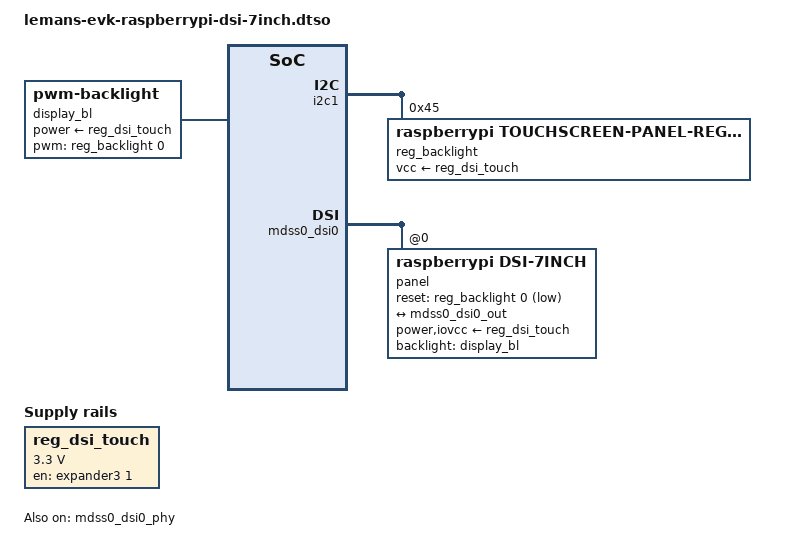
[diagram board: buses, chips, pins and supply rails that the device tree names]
// SPDX-License-Identifier: BSD-3-Clause
/*
 * Copyright (c) Qualcomm Technologies, Inc. and/or its subsidiaries.
 */
/dts-v1/;
/plugin/;

#include <dt-bindings/gpio/gpio.h>

&{/} {
	display_bl: backlight {
		compatible = "pwm-backlight";
		power-supply = <&reg_dsi_touch>;
		pwms = <&reg_backlight 0 255 0>;
	};

	reg_dsi_touch: regulator-touch {
		compatible = "regulator-fixed";
		regulator-name = "rpi-dsi-touch";
		regulator-min-microvolt = <3300000>;
		regulator-max-microvolt = <3300000>;
		gpio = <&expander3 1 GPIO_ACTIVE_HIGH>;
		enable-active-high;
		regulator-boot-on;
		regulator-always-on;
	};
};

&i2c1 {
	qcom,load-firmware;
	qcom,xfer-mode = <1>;

	status = "okay";

	#address-cells = <1>;
	#size-cells = <0>;

	reg_backlight: reg_backlight@45 {
		compatible = "raspberrypi,touchscreen-panel-regulator-v2";
		reg = <0x45>;

		vcc-supply = <&reg_dsi_touch>;
		gpio-controller;
		#gpio-cells = <2>;
		#pwm-cells = <3>;
	};
};

&mdss0_dsi0 {
	vdda-supply = <&vreg_l1c>;

	status = "okay";

	#address-cells = <1>;
	#size-cells = <0>;

	panel@0 {
		compatible = "raspberrypi,dsi-7inch";
		reg = <0>;

		reset-gpios = <&reg_backlight 0 GPIO_ACTIVE_LOW>;
		power-supply = <&reg_dsi_touch>;
		iovcc-supply = <&reg_dsi_touch>;
		backlight = <&display_bl>;

		port {
			panel0_in: endpoint {
				remote-endpoint = <&mdss0_dsi0_out>;
			};
		};
	};
};

&mdss0_dsi0_out {
	remote-endpoint = <&panel0_in>;
	data-lanes = <0 1>;
};

&mdss0_dsi0_phy {
	vdds-supply = <&vreg_l4a>;

	status = "okay";
};
